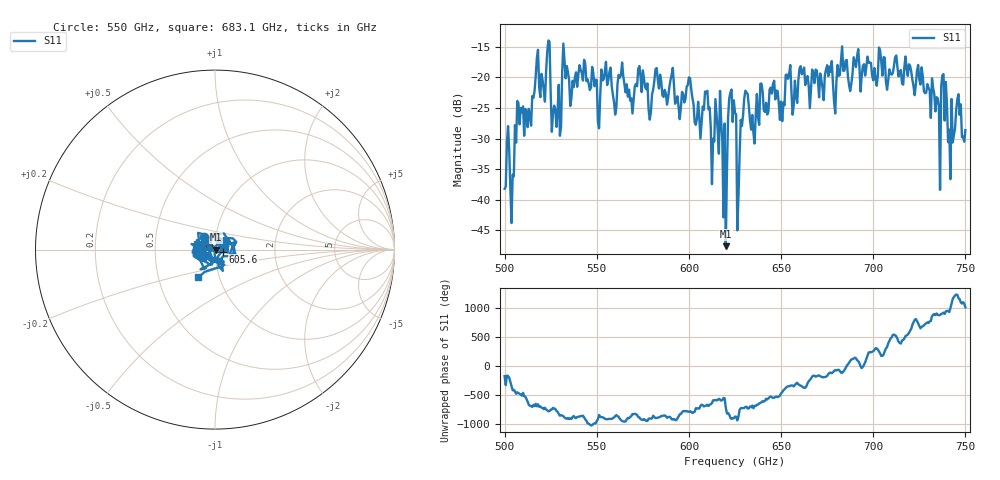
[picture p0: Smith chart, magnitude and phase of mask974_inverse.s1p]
!Created with skrf (http://scikit-rf.org).
# GHz S MA R 50.0
!freq magS11 angS11
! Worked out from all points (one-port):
!   401 points, 500 GHz to 750 GHz, reference 50 ohm
!   lowest |S11| = -47.6 dB at 620 GHz (marker M1), VSWR 1.01, Z = 50.4 + j0.0383 ohm
!   |S11| at or under -10 dB: start of sweep to end of sweep
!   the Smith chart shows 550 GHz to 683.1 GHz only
!   S11 on the Smith chart (normalised r, x): 550 GHz: 0.87, +0.12; 605.6 GHz: 1.10, -0.03; 683.1 GHz: 0.80, -0.25
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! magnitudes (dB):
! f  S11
! 500 GHz  -38.2
! 503.8 GHz  -43.8
! 506.9 GHz  -23.8
! 513.1 GHz  -25.1
! 517.5 GHz  -16.9
! 523.8 GHz  -14.0
! 526.9 GHz  -24.6
! 531.2 GHz  -19.0
! 542.5 GHz  -20.5
! 550 GHz  -20.4
! 562.5 GHz  -20.0
! 579.4 GHz  -25.6
! 590.6 GHz  -19.6
! 593.8 GHz  -23.1
! 600 GHz  -20.0
! 605.6 GHz  -26.5
! 615.6 GHz  -28.7
! 620 GHz  -47.6
! 622.5 GHz  -22.5
! 625 GHz  -25.8
! 627.5 GHz  -32.7
! 631.2 GHz  -22.4
! 634.4 GHz  -26.1
! 656.2 GHz  -26.1
! 683.1 GHz  -14.9
! 687.5 GHz  -22.2
! 718.8 GHz  -19.7
! 750 GHz  -28.6
